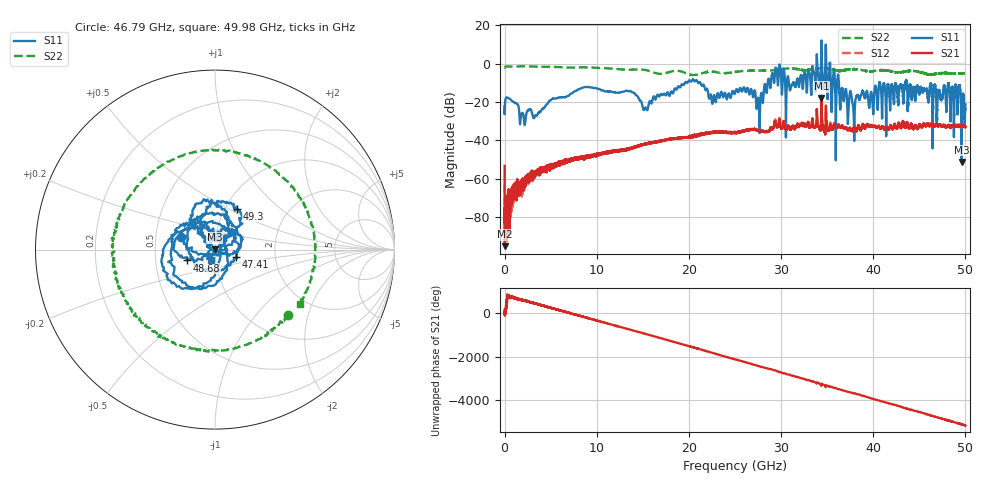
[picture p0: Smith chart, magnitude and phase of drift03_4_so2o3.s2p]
!Created with skrf (http://scikit-rf.org).
# Hz S RI R 50.0
!freq ReS11 ImS11 ReS21 ImS21 ReS12 ImS12 ReS22 ImS22
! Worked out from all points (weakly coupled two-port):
!   10001 points, 300 kHz to 50 GHz, reference 50 ohm
!   highest |S21| = -18.00 dB at 34.38 GHz (marker M1); lowest = -95.0 dB at 25.3 MHz (marker M2)
!   lowest |S11| = -51.2 dB at 49.59 GHz (marker M3), VSWR 1.01, Z = 49.8 + j0.19 ohm
!   |S11| at or under -10 dB: start of sweep to 19.56 GHz; 21.25 GHz to 28.55 GHz (7.295 GHz wide, 29.3 % of centre); 43.64 GHz to end of sweep (the widest 3 of 26)
!   |S22| runs from -5.9 to -1.3 dB; largest |S21 - S12| = 0.022
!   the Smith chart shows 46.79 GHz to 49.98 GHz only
!   S11 on the Smith chart (normalised r, x): 46.79 GHz: 0.67, +0.10; 47.41 GHz: 1.26, -0.11; 48.68 GHz: 0.73, -0.09; 49.3 GHz: 1.13, +0.55; 49.98 GHz: 0.95, -0.11
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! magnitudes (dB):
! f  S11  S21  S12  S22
! 300 kHz  -22.2  -53.2  -62.9  -2.1
! 25.3 MHz  -23.1  -95.0  -77.4  -1.9
! 270.3 MHz  -17.6  -89.4  -88.0  -1.4
! 3.3 GHz  -27.2  -56.6  -58.0  -1.5
! 8.335 GHz  -12.6  -49.2  -48.8  -1.9
! 15.28 GHz  -22.8  -41.9  -41.9  -3.3
! 16.67 GHz  -16.5  -40.6  -40.7  -5.2
! 25 GHz  -15.3  -36.2  -35.8  -4.3
! 27.52 GHz  -17.9  -34.6  -34.6  -3.5
! 29.28 GHz  -8.8  -31.3  -30.8  -3.4
! 30.73 GHz  -6.6  -32.9  -32.5  -2.5
! 33.34 GHz  -7.3  -31.4  -31.5  -2.9
! 34.38 GHz  11.6  -18.0  -19.1  -2.4
! 37.88 GHz  -26.7  -33.5  -33.9  -2.8
! 41.67 GHz  -12.1  -34.3  -34.1  -3.7
! 46.79 GHz  -13.8  -31.9  -31.5  -5.2
! 47.41 GHz  -18.1  -32.5  -32.5  -4.9
! 48.68 GHz  -15.6  -32.0  -32.2  -5.1
! 49.3 GHz  -11.8  -32.4  -32.5  -5.1
! 49.59 GHz  -51.2  -33.0  -33.0  -5.1
! 49.98 GHz  -24.3  -33.0  -32.9  -5.0
! 50 GHz  -21.3  -32.8  -32.6  -5.0
